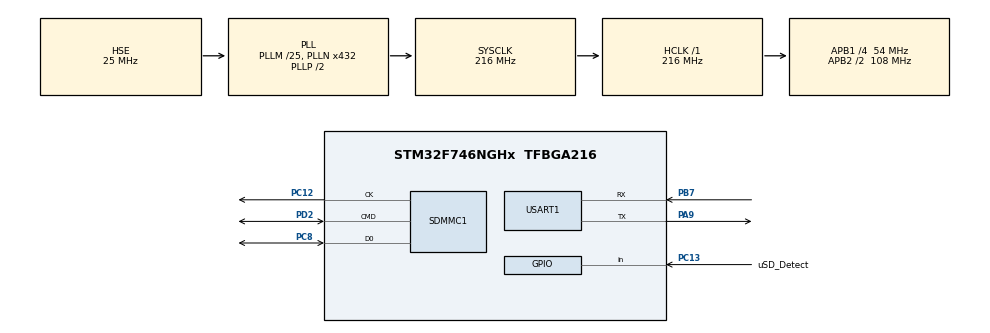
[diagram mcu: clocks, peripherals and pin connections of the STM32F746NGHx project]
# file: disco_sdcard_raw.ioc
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CORTEX_M7.CPU_DCache=Enabled
CORTEX_M7.CPU_ICache=Enabled
CORTEX_M7.default_mode_Activation=1
Mcu.Family=STM32F7
Mcu.Name=STM32F746NGHx
Mcu.Package=TFBGA216
NVIC.PriorityGroup=NVIC_PRIORITYGROUP_4
NVIC.USART1_IRQn=true\:0\:0\:false\:false\:true\:true\:true\:true
PA13.Mode=Serial_Wire
PA13.Signal=SYS_JTMS-SWDIO
PA14.Mode=Serial_Wire
PA14.Signal=SYS_JTCK-SWCLK
PA9.Mode=Asynchronous
PA9.Signal=USART1_TX
PB7.Mode=Asynchronous
PB7.Signal=USART1_RX
PC12.Mode=SD_1_bit
PC12.Signal=SDMMC1_CK
PC13.GPIO_Label=uSD_Detect
PC13.Signal=GPIO_Input
PC14/OSC32_IN.Mode=LSE-External-Oscillator
PC14/OSC32_IN.Signal=RCC_OSC32_IN
PC15/OSC32_OUT.Mode=LSE-External-Oscillator
PC15/OSC32_OUT.Signal=RCC_OSC32_OUT
PC2.Signal=USB_OTG_HS_ULPI_DIR
PC8.Mode=SD_1_bit
PC8.Signal=SDMMC1_D0
PD2.Mode=SD_1_bit
PD2.Signal=SDMMC1_CMD
PH0/OSC_IN.Mode=HSE-External-Oscillator
PH0/OSC_IN.Signal=RCC_OSC_IN
PH1/OSC_OUT.Mode=HSE-External-Oscillator
PH1/OSC_OUT.Signal=RCC_OSC_OUT
PH4.Signal=USB_OTG_HS_ULPI_NXT
ProjectManager.HeapSize=0x400
ProjectManager.StackSize=0x800
ProjectManager.TargetToolchain=STM32CubeIDE
RCC.AHBFreq_Value=216000000
RCC.APB1CLKDivider=RCC_HCLK_DIV4
RCC.APB1Freq_Value=54000000
RCC.APB1TimFreq_Value=108000000
RCC.APB2CLKDivider=RCC_HCLK_DIV2
RCC.APB2Freq_Value=108000000
RCC.APB2TimFreq_Value=216000000
RCC.CortexFreq_Value=216000000
RCC.HCLKFreq_Value=216000000
RCC.HSE_VALUE=25000000
RCC.HSI_VALUE=16000000
RCC.PLL48CLockSelection=RCC_CLK48SOURCE_PLLSAIP
RCC.PLLI2SN=100
RCC.PLLM=25
RCC.PLLN=432
RCC.PLLQ=8
RCC.PLLSAIP=RCC_PLLSAIP_DIV4
RCC.PLLSAIR=5
RCC.PLLSAIRDiv=RCC_PLLSAIDIVR_8
RCC.PLLSourceVirtual=RCC_PLLSOURCE_HSE
RCC.SDMMCClockSelection=RCC_SDMMC1CLKSOURCE_CLK48
RCC.SYSCLKFreq_VALUE=216000000
RCC.SYSCLKSource=RCC_SYSCLKSOURCE_PLLCLK
RCC.USBFreq_Value=48000000
RCC.VCOOutputFreq_Value=432000000
SDMMC1.ClockDiv=0
USART1.VirtualMode-Asynchronous=VM_ASYNC
board=STM32F746G-DISCO

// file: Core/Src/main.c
/* USER CODE BEGIN Header */
/**
 ******************************************************************************
 * @file           : main.c
 * @brief          : Main program body
 ******************************************************************************
 * @attention
 *
 * Copyright (c) 2025 STMicroelectronics.
 * All rights reserved.
 *
 * This software is licensed under terms that can be found in the LICENSE file
 * in the root directory of this software component.
 * If no LICENSE file comes with this software, it is provided AS-IS.
 *
 ******************************************************************************
 */
/* USER CODE END Header */
#include "main.h"

/* USER CODE BEGIN Includes */
#include <stdio.h>
#include <string.h>
#include "bsp_driver_sd.h"
/* USER CODE END Includes */

SD_HandleTypeDef hsd1;

UART_HandleTypeDef huart1;

/* USER CODE BEGIN PV */
HAL_SD_CardInfoTypeDef SDCardInfo;  // SD kart bilgileri
#define sizee 512
int timeout=600;
uint8_t writeBuffer[sizee];  // SD karta yazılacak veri
uint8_t readBuffer[sizee];   // SD karttan okunan veri

/* USER CODE END PV */

void SystemClock_Config(void);
static void MPU_Config(void);
static void MX_GPIO_Init(void);
static void MX_USART1_UART_Init(void);
static void MX_SDMMC1_SD_Init(void);

/* USER CODE BEGIN 0 */

int _write(int file, char *ptr, int len) {
    for (int i = 0; i < len; i++) {
        HAL_UART_Transmit(&huart1, (uint8_t *)&ptr[i], 1, HAL_MAX_DELAY);
    }
    return len;
}

// SD kartı başlatma
void SD_Init(void) {
    if (HAL_SD_Init(&hsd1) != HAL_OK) {
        // Hata durumu
        Error_Handler();
    }

    if (HAL_SD_GetCardInfo(&hsd1, &SDCardInfo) != HAL_OK) {
        // Hata durumu
        Error_Handler();
    }
    printf("Init basarili\r\n");

}

// SD karta ham veri yazma
void SD_Write(uint32_t sector, uint8_t *data, uint32_t length) {
    // Veri boyutunun 512 byte'lık sektörlere bölündüğünden emin olun
    if (length != 512) {
        // Hata durumu
        Error_Handler();
    }
    if (HAL_SD_WriteBlocks(&hsd1, data, sector, 1, timeout) != HAL_OK) {
        // Yazma hatası
    	printf("err HAL_SD_WriteBlocks");
        Error_Handler();
    }
    while (HAL_SD_GetCardState(&hsd1) != HAL_SD_CARD_TRANSFER) {
    	__NOP();
        // Okuma tamamlanana kadar bekle
    }

    printf("ok HAL_SD_WriteBlocks\r\n");
}

// SD karttan ham veri okuma
void SD_Read(uint32_t sector, uint8_t *buffer, uint32_t length) {
    // Veri boyutunun 512 byte'lık sektörlere bölündüğünden emin olun
    if (length != 512) {
        // Hata durumu
        Error_Handler();
    }

    if (HAL_SD_ReadBlocks(&hsd1, buffer, sector, 1,timeout) != HAL_OK) {
        // Okuma hatası
    	printf("err HAL_SD_ReadBlocks");
        Error_Handler();
    }
    printf("ok HAL_SD_ReadBlocks\r\n");
}

// Test fonksiyonu: SD karta veri yazma ve okuma
void SD_Test(void) {
	printf("test basliyor\r\n");

    uint32_t sector = 1;

    // Ham veri yazma: 0. sektöre veri yazıyoruz
    memset(writeBuffer, 0xcc, sizeof(writeBuffer));  // Veri hazırlama (0xAA ile dolduruyoruz)
    SD_Write(sector, writeBuffer, sizeof(writeBuffer));

    // Ham veri okuma: 0. sektörden veri okuyoruz
    SD_Read(sector, readBuffer, sizeof(readBuffer));

    // Okunan veriyi kontrol et (örneğin LED'i yakabiliriz)
    if (memcmp(writeBuffer, readBuffer, sizeof(writeBuffer)) == 0) {
        printf("ok  compare");
    }else{
    	  printf("err compare");
    }
}

/* USER CODE END 0 */

int main(void)
{

  /* MPU Configuration--------------------------------------------------------*/
  MPU_Config();

  /* Enable the CPU Cache */

  /* Enable I-Cache---------------------------------------------------------*/
  SCB_EnableICache();

  /* Enable D-Cache---------------------------------------------------------*/
  SCB_EnableDCache();

  /* MCU Configuration--------------------------------------------------------*/

  /* Reset of all peripherals, Initializes the Flash interface and the Systick. */
  HAL_Init();

  /* Configure the system clock */
  SystemClock_Config();

  /* Initialize all configured peripherals */
  MX_GPIO_Init();
  MX_USART1_UART_Init();
  MX_SDMMC1_SD_Init();
  /* USER CODE BEGIN 2 */
  setvbuf(stdout, NULL, _IONBF, 0);

  /* USER CODE END 2 */

  /* Infinite loop */
  /* USER CODE BEGIN WHILE */
  SD_Init();
  SD_Test();
	int var = 0;
	while (1) {
		printf(".");
		var++;
		if(var==10){
			var=0;
			printf("\r\n");
		}

		HAL_Delay(1000);  // 1 saniye bekle
    /* USER CODE END WHILE */

	}
}

void SystemClock_Config(void)
{
  RCC_OscInitTypeDef RCC_OscInitStruct = {0};
  RCC_ClkInitTypeDef RCC_ClkInitStruct = {0};

  /** Configure LSE Drive Capability
  */
  HAL_PWR_EnableBkUpAccess();

  /** Configure the main internal regulator output voltage
  */
  __HAL_RCC_PWR_CLK_ENABLE();
  __HAL_PWR_VOLTAGESCALING_CONFIG(PWR_REGULATOR_VOLTAGE_SCALE1);

  /** Initializes the RCC Oscillators according to the specified parameters
  * in the RCC_OscInitTypeDef structure.
  */
  RCC_OscInitStruct.OscillatorType = RCC_OSCILLATORTYPE_HSE;
  RCC_OscInitStruct.HSEState = RCC_HSE_ON;
  RCC_OscInitStruct.PLL.PLLState = RCC_PLL_ON;
  RCC_OscInitStruct.PLL.PLLSource = RCC_PLLSOURCE_HSE;
  RCC_OscInitStruct.PLL.PLLM = 25;
  RCC_OscInitStruct.PLL.PLLN = 432;
  RCC_OscInitStruct.PLL.PLLP = RCC_PLLP_DIV2;
  RCC_OscInitStruct.PLL.PLLQ = 8;
  if (HAL_RCC_OscConfig(&RCC_OscInitStruct) != HAL_OK)
  {
    Error_Handler();
  }

  /** Activate the Over-Drive mode
  */
  if (HAL_PWREx_EnableOverDrive() != HAL_OK)
  {
    Error_Handler();
  }

  /** Initializes the CPU, AHB and APB buses clocks
  */
  RCC_ClkInitStruct.ClockType = RCC_CLOCKTYPE_HCLK|RCC_CLOCKTYPE_SYSCLK
                              |RCC_CLOCKTYPE_PCLK1|RCC_CLOCKTYPE_PCLK2;
  RCC_ClkInitStruct.SYSCLKSource = RCC_SYSCLKSOURCE_PLLCLK;
  RCC_ClkInitStruct.AHBCLKDivider = RCC_SYSCLK_DIV1;
  RCC_ClkInitStruct.APB1CLKDivider = RCC_HCLK_DIV4;
  RCC_ClkInitStruct.APB2CLKDivider = RCC_HCLK_DIV2;

  if (HAL_RCC_ClockConfig(&RCC_ClkInitStruct, FLASH_LATENCY_7) != HAL_OK)
  {
    Error_Handler();
  }
}

static void MX_SDMMC1_SD_Init(void)
{

  hsd1.Instance = SDMMC1;
  hsd1.Init.ClockEdge = SDMMC_CLOCK_EDGE_RISING;
  hsd1.Init.ClockBypass = SDMMC_CLOCK_BYPASS_DISABLE;
  hsd1.Init.ClockPowerSave = SDMMC_CLOCK_POWER_SAVE_DISABLE;
  hsd1.Init.BusWide = SDMMC_BUS_WIDE_1B;
  hsd1.Init.HardwareFlowControl = SDMMC_HARDWARE_FLOW_CONTROL_DISABLE;
  hsd1.Init.ClockDiv = 0;
  if (HAL_SD_Init(&hsd1) != HAL_OK)
  {
    Error_Handler();
  }
  /* USER CODE BEGIN SDMMC1_Init 2 */
  hsd1.Init.BusWide = SDMMC_BUS_WIDE_1B;
  BSP_SD_Init();

  /* USER CODE END SDMMC1_Init 2 */

}

static void MX_USART1_UART_Init(void)
{

  huart1.Instance = USART1;
  huart1.Init.BaudRate = 115200;
  huart1.Init.WordLength = UART_WORDLENGTH_8B;
  huart1.Init.StopBits = UART_STOPBITS_1;
  huart1.Init.Parity = UART_PARITY_NONE;
  huart1.Init.Mode = UART_MODE_TX_RX;
  huart1.Init.HwFlowCtl = UART_HWCONTROL_NONE;
  huart1.Init.OverSampling = UART_OVERSAMPLING_16;
  huart1.Init.OneBitSampling = UART_ONE_BIT_SAMPLE_DISABLE;
  huart1.AdvancedInit.AdvFeatureInit = UART_ADVFEATURE_NO_INIT;
  if (HAL_UART_Init(&huart1) != HAL_OK)
  {
    Error_Handler();
  }

}

static void MX_GPIO_Init(void)
{
  GPIO_InitTypeDef GPIO_InitStruct = {0};

  /* GPIO Ports Clock Enable */
  __HAL_RCC_GPIOC_CLK_ENABLE();
  __HAL_RCC_GPIOA_CLK_ENABLE();
  __HAL_RCC_GPIOB_CLK_ENABLE();
  __HAL_RCC_GPIOD_CLK_ENABLE();
  __HAL_RCC_GPIOH_CLK_ENABLE();

  /*Configure GPIO pin : uSD_Detect_Pin */
  GPIO_InitStruct.Pin = uSD_Detect_Pin;
  GPIO_InitStruct.Mode = GPIO_MODE_INPUT;
  GPIO_InitStruct.Pull = GPIO_NOPULL;
  HAL_GPIO_Init(uSD_Detect_GPIO_Port, &GPIO_InitStruct);

  /*Configure GPIO pin : PH4 */
  GPIO_InitStruct.Pin = GPIO_PIN_4;
  GPIO_InitStruct.Mode = GPIO_MODE_AF_PP;
  GPIO_InitStruct.Pull = GPIO_NOPULL;
  GPIO_InitStruct.Speed = GPIO_SPEED_FREQ_VERY_HIGH;
  GPIO_InitStruct.Alternate = GPIO_AF10_OTG_HS;
  HAL_GPIO_Init(GPIOH, &GPIO_InitStruct);

  /*Configure GPIO pin : PC2 */
  GPIO_InitStruct.Pin = GPIO_PIN_2;
  GPIO_InitStruct.Mode = GPIO_MODE_AF_PP;
  GPIO_InitStruct.Pull = GPIO_NOPULL;
  GPIO_InitStruct.Speed = GPIO_SPEED_FREQ_VERY_HIGH;
  GPIO_InitStruct.Alternate = GPIO_AF10_OTG_HS;
  HAL_GPIO_Init(GPIOC, &GPIO_InitStruct);

}

 /* MPU Configuration */

void MPU_Config(void)
{
  MPU_Region_InitTypeDef MPU_InitStruct = {0};

  /* Disables the MPU */
  HAL_MPU_Disable();

  /** Initializes and configures the Region and the memory to be protected
  */
  MPU_InitStruct.Enable = MPU_REGION_ENABLE;
  MPU_InitStruct.Number = MPU_REGION_NUMBER0;
  MPU_InitStruct.BaseAddress = 0x0;
  MPU_InitStruct.Size = MPU_REGION_SIZE_4GB;
  MPU_InitStruct.SubRegionDisable = 0x87;
  MPU_InitStruct.TypeExtField = MPU_TEX_LEVEL0;
  MPU_InitStruct.AccessPermission = MPU_REGION_NO_ACCESS;
  MPU_InitStruct.DisableExec = MPU_INSTRUCTION_ACCESS_DISABLE;
  MPU_InitStruct.IsShareable = MPU_ACCESS_SHAREABLE;
  MPU_InitStruct.IsCacheable = MPU_ACCESS_NOT_CACHEABLE;
  MPU_InitStruct.IsBufferable = MPU_ACCESS_NOT_BUFFERABLE;

  HAL_MPU_ConfigRegion(&MPU_InitStruct);
  /* Enables the MPU */
  HAL_MPU_Enable(MPU_PRIVILEGED_DEFAULT);

}

void Error_Handler(void)
{
	__disable_irq();
	while (1) {
	}
}

#ifdef  USE_FULL_ASSERT
/**
  * @brief  Reports the name of the source file and the source line number
  *         where the assert_param error has occurred.
  * @param  file: pointer to the source file name
  * @param  line: assert_param error line source number
  * @retval None
  */
void assert_failed(uint8_t *file, uint32_t line)
{
  /* USER CODE BEGIN 6 */
  /* User can add his own implementation to report the file name and line number,
     ex: UART_Print("Wrong parameters value: file %s on line %d\r\n", file, line) */
  /* USER CODE END 6 */
}
#endif /* USE_FULL_ASSERT */
